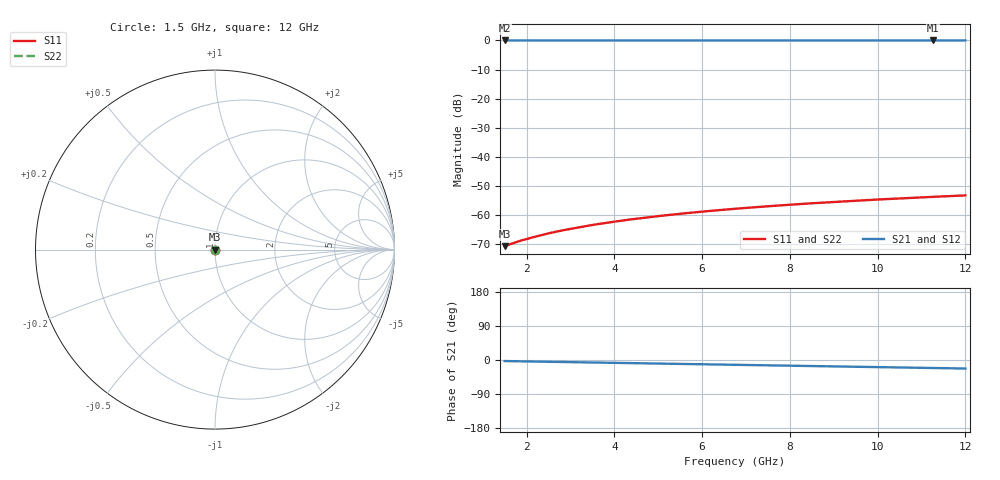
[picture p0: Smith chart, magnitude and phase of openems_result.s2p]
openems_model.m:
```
% Generated by textlayout from the official openEMS finite CPW pattern.
close all; clear; clc;
addpath('.tools/openems-wsl/share/openEMS/matlab');
addpath('.tools/openems-wsl/share/CSXCAD/matlab');
setenv('PATH', ['.tools/openems-wsl/bin' pathsep getenv('PATH')]);
setenv('LD_LIBRARY_PATH', ['.tools/openems-wsl/lib' pathsep '.tools/openems-wsl/lib64' pathsep getenv('LD_LIBRARY_PATH')]);
physical_constants; unit = 1e-6;
f_start = 3000000000; f_stop = 9000000000;
FDTD = InitFDTD('NrTS', 180000, 'EndCriteria', 1e-3);
FDTD = SetGaussExcite(FDTD, (f_start+f_stop)/2, (f_stop-f_start)/2);
FDTD = SetBoundaryCond(FDTD, [2 2 2 2 2 2]);
CSX = InitCSX();
mesh.x = SmoothMeshLines([-621.966 -500 0 500 621.966], 40, 1.4, 0);
mesh.y = SmoothMeshLines([-10.983 -5 5 10.983], 1.99433333, 1.3, 0);
mesh.y = SmoothMeshLines([-182.949 -60.983 mesh.y 60.983 182.949], 40, 1.4, 0);
mesh.z = SmoothMeshLines([-121.966 0 500 621.966], 40, 1.4, 0);
CSX = DefineRectGrid(CSX, unit, mesh);
CSX = AddMaterial(CSX, 'substrate', 'Epsilon', 11.9);
CSX = AddBox(CSX, 'substrate', 0, [-500 -60.983 0], [500 60.983 500]);
CSX = AddMetal(CSX, 'CPW_PORT');
[CSX, port{1}] = AddCPWPort(CSX, 999, 1, 'CPW_PORT', [-500 -5 500], [-300 5 500], 5.983, 'x', [0 1 0], 'ExcitePort', true, 'MeasPlaneShift', 200, 'Feed_R', 50);
[CSX, port{2}] = AddCPWPort(CSX, 999, 2, 'CPW_PORT', [500 -5 500], [300 5 500], 5.983, 'x', [0 1 0], 'MeasPlaneShift', 200, 'Feed_R', 50);
CSX = AddMetal(CSX, 'CPW');
CSX = AddBox(CSX, 'CPW', 999, [-300 -5 500], [300 5 500]);
CSX = AddMetal(CSX, 'GND');
CSX = AddBox(CSX, 'GND', 999, [-500 -60.983 500], [500 -10.983 500]);
CSX = AddBox(CSX, 'GND', 999, [-500 10.983 500], [500 60.983 500]);
Sim_Path = 'openems_run'; Sim_CSX = 'model.xml';
CleanupSimPath(Sim_Path);
WriteOpenEMS(fullfile(Sim_Path, Sim_CSX), FDTD, CSX);
RunOpenEMS(Sim_Path, Sim_CSX);
freq = linspace(f_start, f_stop, 401);
port = calcPort(port, Sim_Path, freq, 'RefImpedance', 50);
s11 = port{1}.uf.ref ./ port{1}.uf.inc;
s21 = port{2}.uf.ref ./ port{1}.uf.inc;
fid = fopen('openems_result.s2p', 'w'); fprintf(fid, '# Hz S RI R 50\n');
for k=1:numel(freq)
  fprintf(fid, '%.12e %.12e %.12e %.12e %.12e %.12e %.12e %.12e %.12e\n', freq(k), real(s11(k)), imag(s11(k)), real(s21(k)), imag(s21(k)), real(s21(k)), imag(s21(k)), real(s11(k)), imag(s11(k)));
end; fclose(fid);
fid = fopen('openems_metrics.csv', 'w');
fprintf(fid, 'frequency_hz,z0_real,z0_imag,s11_real,s11_imag,s21_real,s21_imag\n');
for k=1:numel(freq)
  fprintf(fid, '%.12e,%.12e,%.12e,%.12e,%.12e,%.12e,%.12e\n', freq(k), real(port{1}.ZL(k)), imag(port{1}.ZL(k)), real(s11(k)), imag(s11(k)), real(s21(k)), imag(s21(k)));
end; fclose(fid);
```
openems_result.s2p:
# Hz S RI R 50
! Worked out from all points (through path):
!   401 points, 1.5 GHz to 12 GHz, reference 50 ohm
!   highest |S21| = 0.00 dB at 11.27 GHz (marker M1); lowest = 0.0 dB at 1.5 GHz (marker M2)
!   group delay of S21, straight-line fit = 5.21 ps
!   lowest |S11| = -70.7 dB at 1.5 GHz (marker M3), VSWR 1.00, Z = 50 - j0.0291 ohm
!   |S11| at or under -10 dB: start of sweep to end of sweep
!   |S22| runs from -70.7 to -53.2 dB; largest |S21 - S12| = 0
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1.5e9  -3.04e-05 -0.000291  0.9987 -0.0491  0.9987 -0.0491  -3.04e-05 -0.000291
1.89375e9  -4.61e-05 -0.000367  0.998 -0.062  0.998 -0.062  -4.61e-05 -0.000367
2.445e9  -7.33e-05 -0.000469  0.9968 -0.08  0.9968 -0.08  -7.33e-05 -0.000469
2.83875e9  -9.97e-05 -0.000542  0.9957 -0.0928  0.9957 -0.0928  -9.97e-05 -0.000542
3.46875e9  -0.000149 -0.000655  0.9936 -0.1134  0.9936 -0.1134  -0.000149 -0.000655
4.2825e9  -0.000224 -0.000795  0.9902 -0.1398  0.9902 -0.1398  -0.000224 -0.000795
4.965e9  -0.000299 -0.000906  0.9868 -0.1619  0.9868 -0.1619  -0.000299 -0.000906
6.75e9  -0.00054 -0.00116  0.9757 -0.2193  0.9757 -0.2193  -0.00054 -0.00116
8.7975e9  -0.000886 -0.00139  0.9588 -0.2841  0.9588 -0.2841  -0.000886 -0.00139
1.1265e10  -0.00137 -0.00153  0.9327 -0.3606  0.9327 -0.3606  -0.00137 -0.00153
1.2e10  -0.00153 -0.00155  0.9237 -0.3829  0.9237 -0.3829  -0.00153 -0.00155
